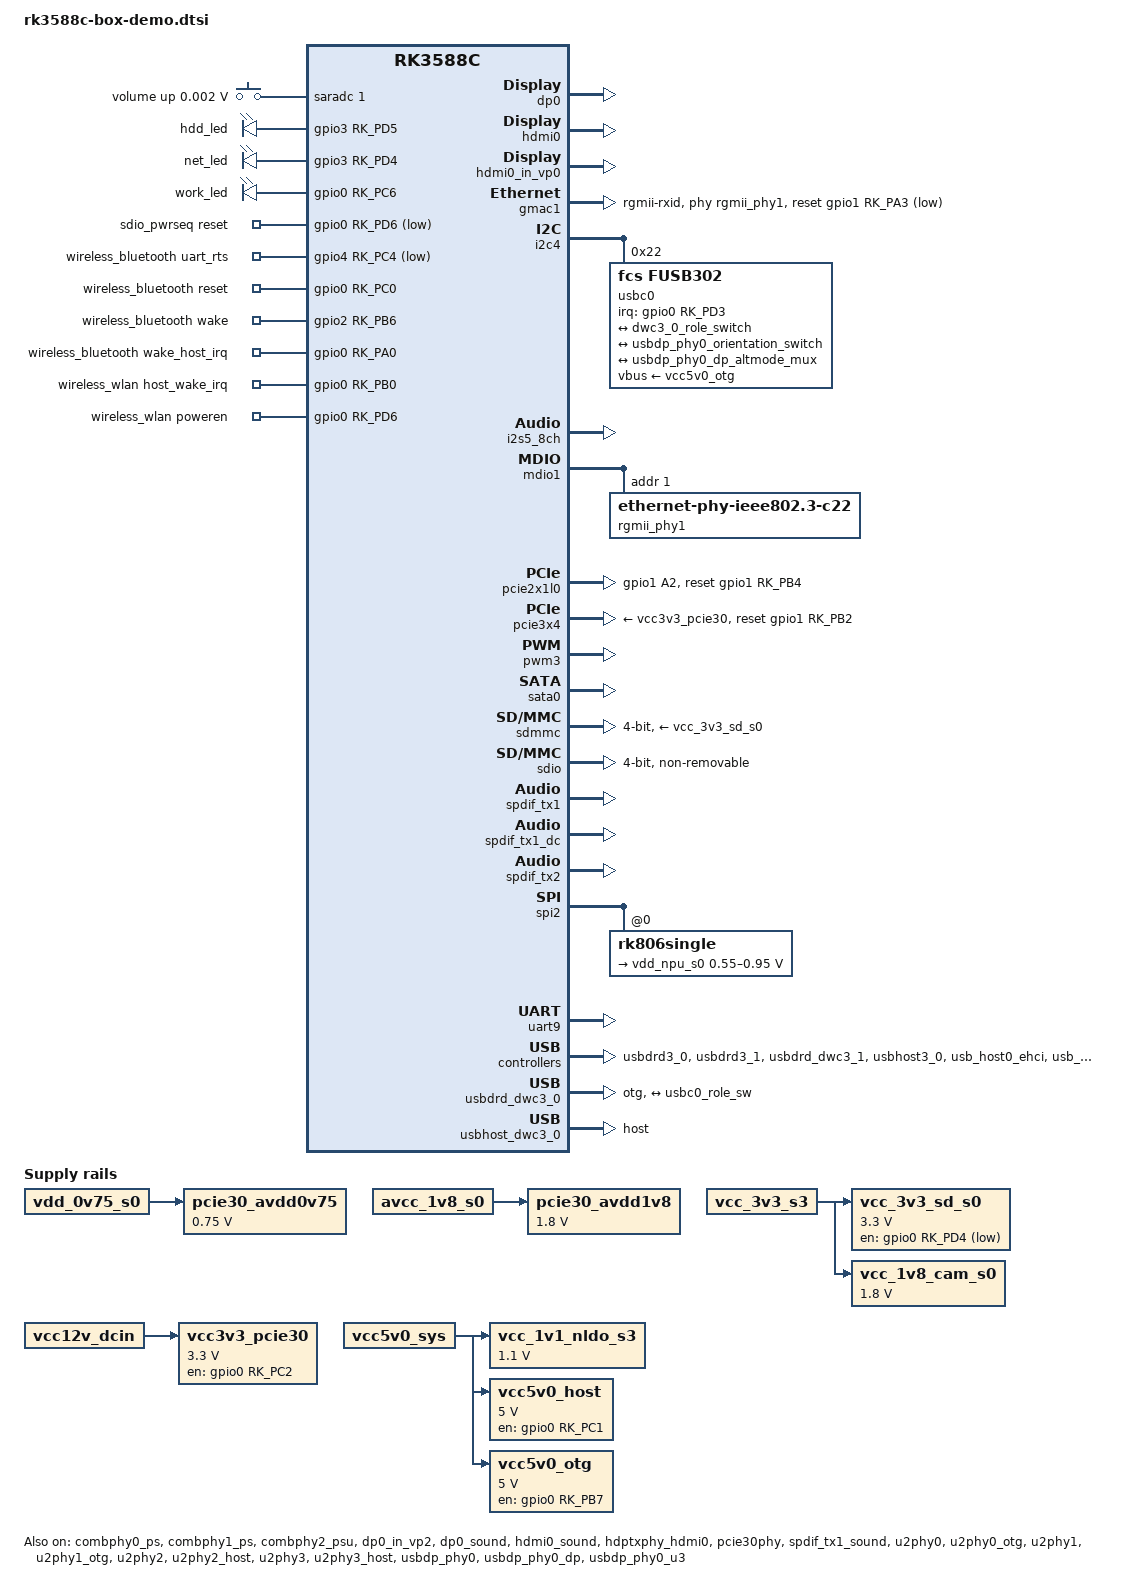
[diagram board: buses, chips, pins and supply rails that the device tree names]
// SPDX-License-Identifier: (GPL-2.0+ OR MIT)
/*
 * Copyright (c) 2021 Rockchip Electronics Co., Ltd.
 *
 */

#include <dt-bindings/gpio/gpio.h>
#include <dt-bindings/pwm/pwm.h>
#include <dt-bindings/pinctrl/rockchip.h>
#include <dt-bindings/input/rk-input.h>
#include <dt-bindings/display/rockchip_vop.h>
#include "dt-bindings/usb/pd.h"
#include "rk3588c-box.dtsi"
#include "rk3588-rk806-single.dtsi"

/ {
	adc_keys: adc-keys {
		compatible = "adc-keys";
		io-channels = <&saradc 1>;
		io-channel-names = "buttons";
		keyup-threshold-microvolt = <1800000>;
		poll-interval = <100>;

		vol-up-key {
			label = "volume up";
			linux,code = <KEY_VOLUMEUP>;
			press-threshold-microvolt = <1750>;
		};
	};

	leds: leds {
		compatible = "gpio-leds";
		hdd_led: hdd-led {
			gpios = <&gpio3 RK_PD5 GPIO_ACTIVE_HIGH>;
			default-state = "off";
		};
		net_led: net-led {
			gpios = <&gpio3 RK_PD4 GPIO_ACTIVE_HIGH>;
			default-state = "off";
		};
		work_led: work-led {
			gpios = <&gpio0 RK_PC6 GPIO_ACTIVE_HIGH>;
			linux,default-trigger = "heartbeat";
		};
	};

	pcie30_avdd0v75: pcie30-avdd0v75 {
		compatible = "regulator-fixed";
		regulator-name = "pcie30_avdd0v75";
		regulator-boot-on;
		regulator-always-on;
		regulator-min-microvolt = <750000>;
		regulator-max-microvolt = <750000>;
		vin-supply = <&vdd_0v75_s0>;
	};

	pcie30_avdd1v8: pcie30-avdd1v8 {
		compatible = "regulator-fixed";
		regulator-name = "pcie30_avdd1v8";
		regulator-boot-on;
		regulator-always-on;
		regulator-min-microvolt = <1800000>;
		regulator-max-microvolt = <1800000>;
		vin-supply = <&avcc_1v8_s0>;
	};

	vcc_3v3_sd_s0: vcc-3v3-sd-s0 {
		compatible = "regulator-fixed";
		regulator-name = "vcc_3v3_sd_s0";
		regulator-min-microvolt = <3300000>;
		regulator-max-microvolt = <3300000>;
		gpios = <&gpio0 RK_PD4 GPIO_ACTIVE_LOW>;
		enable-active-low;
		vin-supply = <&vcc_3v3_s3>;
		regulator-state-mem {
				regulator-off-in-suspend;
		};
	};

	vcc3v3_pcie30: vcc3v3-pcie30 {
		compatible = "regulator-fixed";
		regulator-name = "vcc3v3_pcie30";
		regulator-min-microvolt = <3300000>;
		regulator-max-microvolt = <3300000>;
		enable-active-high;
		gpio = <&gpio0 RK_PC2 GPIO_ACTIVE_HIGH>;
		startup-delay-us = <100000>;
		vin-supply = <&vcc12v_dcin>;
		pinctrl-names = "default";
		pinctrl-0 = <&pcie30_pwr_en>;
	};

	vcc_1v1_nldo_s3: vcc-1v1-nldo-s3 {
		compatible = "regulator-fixed";
		regulator-name = "vcc_1v1_nldo_s3";
		regulator-always-on;
		regulator-boot-on;
		regulator-min-microvolt = <1100000>;
		regulator-max-microvolt = <1100000>;
		vin-supply = <&vcc5v0_sys>;
	};

	vcc_1v8_cam_s0: vcc-1v8-cam-s0 {
		compatible = "regulator-fixed";
		regulator-name = "vcc_1v8_cam_s0";
		regulator-min-microvolt = <1800000>;
		regulator-max-microvolt = <1800000>;
		vin-supply = <&vcc_3v3_s3>;
	};

	vcc5v0_host: vcc5v0-host-regulator {
		compatible = "regulator-fixed";
		regulator-name = "vcc5v0_host";
		regulator-boot-on;
		regulator-always-on;
		regulator-min-microvolt = <5000000>;
		regulator-max-microvolt = <5000000>;
		enable-active-high;
		gpio = <&gpio0 RK_PC1 GPIO_ACTIVE_HIGH>;
		vin-supply = <&vcc5v0_sys>;
		pinctrl-names = "default";
		pinctrl-0 = <&vcc5v0_host_en>;
	};

	vcc5v0_otg: vcc5v0-otg-regulator {
		compatible = "regulator-fixed";
		regulator-name = "vcc5v0_otg";
		regulator-min-microvolt = <5000000>;
		regulator-max-microvolt = <5000000>;
		enable-active-high;
		gpio = <&gpio0 RK_PB7 GPIO_ACTIVE_HIGH>;
		vin-supply = <&vcc5v0_sys>;
		pinctrl-names = "default";
		pinctrl-0 = <&vcc5v0_otg_en>;
	};

	sdio_pwrseq: sdio-pwrseq {
		compatible = "mmc-pwrseq-simple";
		//clocks = <&hym8563>;
		//clock-names = "ext_clock";
		pinctrl-names = "default";
		pinctrl-0 = <&wifi_enable_h>;
		/*
		 * On the module itself this is one of these (depending
		 * on the actual card populated):
		 * - SDIO_RESET_L_WL_REG_ON
		 * - PDN (power down when low)
		 */
		post-power-on-delay-ms = <200>;
		reset-gpios = <&gpio0 RK_PD6 GPIO_ACTIVE_LOW>;
	};

	wireless_bluetooth: wireless-bluetooth {
		compatible = "bluetooth-platdata";
		uart_rts_gpios = <&gpio4 RK_PC4 GPIO_ACTIVE_LOW>;
		pinctrl-names = "default", "rts_gpio";
		pinctrl-0 = <&uart9m0_rtsn>, <&bt_gpio>;
		pinctrl-1 = <&uart9_gpios>;
		BT,reset_gpio    = <&gpio0 RK_PC0 GPIO_ACTIVE_HIGH>;
		BT,wake_gpio     = <&gpio2 RK_PB6 GPIO_ACTIVE_HIGH>;
		BT,wake_host_irq = <&gpio0 RK_PA0 GPIO_ACTIVE_HIGH>;
		status = "okay";
	};

	wireless_wlan: wireless-wlan {
		compatible = "wlan-platdata";
		wifi_chip_type = "ap6398s";
		pinctrl-names = "default";
		pinctrl-0 = <&wifi_host_wake_irq>;
		WIFI,host_wake_irq = <&gpio0 RK_PB0 GPIO_ACTIVE_HIGH>;
		WIFI,poweren_gpio = <&gpio0 RK_PD6 GPIO_ACTIVE_HIGH>;
		status = "okay";
	};
};

&combphy0_ps {
	status = "okay";
};

&combphy1_ps {
	status = "okay";
};

&combphy2_psu {
	status = "okay";
};

&dp0 {
	status = "okay";
};

&dp0_in_vp0 {
	status = "disabled";
};

&dp0_in_vp2 {
	status = "okay";
};

&dp0_sound {
	status = "okay";
};

&hdmi0 {
	pinctrl-names = "default";
	pinctrl-0 = <&hdmim0_tx0_hpd &hdmim0_tx0_scl &hdmim0_tx0_sda &hdmim1_tx0_cec>;
	enable-gpios = <&gpio1 RK_PA4 GPIO_ACTIVE_HIGH>;
	status = "okay";
};

&hdmi0_in_vp0 {
	status = "okay";
};

&hdmi0_in_vp1 {
	status = "disabled";
};

&hdmi0_in_vp2 {
	status = "disabled";
};

&hdmi0_sound {
	status = "okay";
};

&hdptxphy_hdmi0 {
	status = "okay";
};

&gmac1 {
	/* Use rgmii-rxid mode to disable rx delay inside Soc */
	phy-mode = "rgmii-rxid";
	clock_in_out = "output";

	snps,reset-gpio = <&gpio1 RK_PA3 GPIO_ACTIVE_LOW>;
	snps,reset-active-low;
	/* Reset time is 20ms, 100ms for rtl8211f */
	snps,reset-delays-us = <0 20000 100000>;

	pinctrl-names = "default";
	pinctrl-0 = <&gmac1_miim
		     &gmac1_tx_bus2
		     &gmac1_rx_bus2
		     &gmac1_rgmii_clk
		     &gmac1_rgmii_bus>;

	tx_delay = <0x42>;
	//rx_delay = <0x37>;

	phy-handle = <&rgmii_phy1>;
	status = "okay";
};

&i2c4 {
	status = "okay";
	pinctrl-names = "default";
	pinctrl-0 = <&i2c4m2_xfer>;

	usbc0: fusb302@22 {
		compatible = "fcs,fusb302";
		reg = <0x22>;
		interrupt-parent = <&gpio0>;
		interrupts = <RK_PD3 IRQ_TYPE_LEVEL_LOW>;
		pinctrl-names = "default";
		pinctrl-0 = <&usbc0_int>;
		vbus-supply = <&vcc5v0_otg>;
		status = "okay";

		ports {
			#address-cells = <1>;
			#size-cells = <0>;

			port@0 {
				reg = <0>;
				usbc0_role_sw: endpoint@0 {
					remote-endpoint = <&dwc3_0_role_switch>;
				};
			};
		};

		usb_con: connector {
			compatible = "usb-c-connector";
			label = "USB-C";
			data-role = "dual";
			power-role = "dual";
			try-power-role = "sink";
			op-sink-microwatt = <1000000>;
			sink-pdos =
				<PDO_FIXED(5000, 1000, PDO_FIXED_USB_COMM)>;
			source-pdos =
				<PDO_FIXED(5000, 3000, PDO_FIXED_USB_COMM)>;

			altmodes {
				#address-cells = <1>;
				#size-cells = <0>;

				altmode@0 {
					reg = <0>;
					svid = <0xff01>;
					vdo = <0xffffffff>;
				};
			};

			ports {
				#address-cells = <1>;
				#size-cells = <0>;

				port@0 {
					reg = <0>;
					usbc0_orien_sw: endpoint {
						remote-endpoint = <&usbdp_phy0_orientation_switch>;
					};
				};

				port@1 {
					reg = <1>;
					dp_altmode_mux: endpoint {
						remote-endpoint = <&usbdp_phy0_dp_altmode_mux>;
					};
				};
			};
		};
	};
};

&i2s5_8ch {
	status = "okay";
};

&mdio1 {
	rgmii_phy1: phy@6 {
		compatible = "ethernet-phy-ieee802.3-c22";
		reg = <0x1>;
		clocks = <&cru REFCLKO25M_ETH1_OUT>;
	};
};

&pcie2x1l0 {
	reset-gpios = <&gpio1 RK_PB4 GPIO_ACTIVE_HIGH>;
	pinctrl-names = "default";
	pinctrl-0 = <&rtl8111_isolate>;
	status = "okay";
};

&pcie30phy {
	status = "okay";
};

&pcie3x4 {
	reset-gpios = <&gpio1 RK_PB2 GPIO_ACTIVE_HIGH>;
	vpcie3v3-supply = <&vcc3v3_pcie30>;
	status = "okay";
};

&pwm3 {
	compatible = "rockchip,remotectl-pwm";
	pinctrl-names = "default";
	pinctrl-0 = <&pwm3m0_pins>;
	remote_pwm_id = <3>;
	handle_cpu_id = <1>;
	remote_support_psci = <0>;
	status = "okay";

	ir_key1 {
		rockchip,usercode = <0x4040>;
		rockchip,key_table =
			<0xf2   KEY_REPLY>,
			<0xba   KEY_BACK>,
			<0xf4   KEY_UP>,
			<0xf1   KEY_DOWN>,
			<0xef   KEY_LEFT>,
			<0xee   KEY_RIGHT>,
			<0xbd   KEY_HOME>,
			<0xea   KEY_VOLUMEUP>,
			<0xe3   KEY_VOLUMEDOWN>,
			<0xe2   KEY_SEARCH>,
			<0xb2   KEY_POWER>,
			<0xbc   KEY_MUTE>,
			<0xec   KEY_MENU>,
			<0xbf   0x190>,
			<0xe0   0x191>,
			<0xe1   0x192>,
			<0xe9   183>,
			<0xe6   248>,
			<0xe8   185>,
			<0xe7   186>,
			<0xf0   388>,
			<0xbe   0x175>;
	};

	ir_key2 {
		rockchip,usercode = <0xff00>;
		rockchip,key_table =
			<0xf9	KEY_HOME>,
			<0xbf	KEY_BACK>,
			<0xfb	KEY_MENU>,
			<0xaa	KEY_REPLY>,
			<0xb9	KEY_UP>,
			<0xe9	KEY_DOWN>,
			<0xb8	KEY_LEFT>,
			<0xea	KEY_RIGHT>,
			<0xeb	KEY_VOLUMEDOWN>,
			<0xef	KEY_VOLUMEUP>,
			<0xf7	KEY_MUTE>,
			<0xe7	KEY_POWER>,
			<0xfc	KEY_POWER>,
			<0xa9	KEY_VOLUMEDOWN>,
			<0xa8	KEY_PLAYPAUSE>,
			<0xe0	KEY_VOLUMEDOWN>,
			<0xa5	KEY_VOLUMEDOWN>,
			<0xab	183>,
			<0xb7	388>,
			<0xe8	388>,
			<0xf8	184>,
			<0xaf	185>,
			<0xed	KEY_VOLUMEDOWN>,
			<0xee	186>,
			<0xb3	KEY_VOLUMEDOWN>,
			<0xf1	KEY_VOLUMEDOWN>,
			<0xf2	KEY_VOLUMEDOWN>,
			<0xf3	KEY_SEARCH>,
			<0xb4	KEY_VOLUMEDOWN>,
			<0xa4	KEY_SETUP>,
			<0xbe	KEY_SEARCH>;
	};

	ir_key3 {
		rockchip,usercode = <0x1dcc>;
		rockchip,key_table =
			<0xee	KEY_REPLY>,
			<0xf0	KEY_BACK>,
			<0xf8	KEY_UP>,
			<0xbb	KEY_DOWN>,
			<0xef	KEY_LEFT>,
			<0xed	KEY_RIGHT>,
			<0xfc	KEY_HOME>,
			<0xf1	KEY_VOLUMEUP>,
			<0xfd	KEY_VOLUMEDOWN>,
			<0xb7	KEY_SEARCH>,
			<0xff	KEY_POWER>,
			<0xf3	KEY_MUTE>,
			<0xbf	KEY_MENU>,
			<0xf9	0x191>,
			<0xf5	0x192>,
			<0xb3	388>,
			<0xbe	KEY_1>,
			<0xba	KEY_2>,
			<0xb2	KEY_3>,
			<0xbd	KEY_4>,
			<0xf9	KEY_5>,
			<0xb1	KEY_6>,
			<0xfc	KEY_7>,
			<0xf8	KEY_8>,
			<0xb0	KEY_9>,
			<0xb6	KEY_0>,
			<0xb5	KEY_BACKSPACE>;
	};
};

&sata0 {
	status = "okay";
};

&sdmmc {
	max-frequency = <200000000>;
	no-sdio;
	no-mmc;
	bus-width = <4>;
	cap-mmc-highspeed;
	cap-sd-highspeed;
	disable-wp;
	sd-uhs-sdr104;
	vmmc-supply = <&vcc_3v3_sd_s0>;
	vqmmc-supply = <&vccio_sd_s0>;
	status = "okay";
};

&sdio {
	max-frequency = <200000000>;
	no-sd;
	no-mmc;
	bus-width = <4>;
	disable-wp;
	cap-sd-highspeed;
	cap-sdio-irq;
	keep-power-in-suspend;
	mmc-pwrseq = <&sdio_pwrseq>;
	non-removable;
	pinctrl-names = "default";
	pinctrl-0 = <&sdiom0_pins>;
	sd-uhs-sdr104;
	status = "okay";
};

&spdif_tx1 {
	status = "okay";
	pinctrl-names = "default";
	pinctrl-0 = <&spdif1m1_tx>;
};

&spdif_tx1_dc {
	status = "okay";
};

&spdif_tx1_sound {
	status = "okay";
};

&spdif_tx2 {
        status = "okay";
};

&spi2 {
	rk806single@0 {
		pinctrl-names = "default", "pmic-power-off";
		pinctrl-0 = <&pmic_pins>, <&rk806_dvs1_null>, <&rk806_dvs2_null>, <&rk806_dvs3_null>;
		pinctrl-1 = <&rk806_dvs1_slp>, <&rk806_dvs2_null>, <&rk806_dvs3_null>;
		regulators {
			/delete-node/ DCDC_REG4;

			vdd_npu_s0: vdd_npu_mem_s0: DCDC_REG4 {
				regulator-always-on;
				regulator-boot-on;
				regulator-min-microvolt = <550000>;
				regulator-max-microvolt = <950000>;
				regulator-init-microvolt = <750000>;
				regulator-ramp-delay = <2500>;
				regulator-name = "vdd_npu_s0";
				regulator-state-mem {
					regulator-off-in-suspend;
				};
			};
		};
	};
};

&uart9 {
	status = "okay";
	pinctrl-names = "default";
	pinctrl-0 = <&uart9m0_xfer &uart9m0_ctsn>;
};

&u2phy0 {
	status = "okay";
};

&u2phy0_otg {
	rockchip,typec-vbus-det;
	status = "okay";
};

&u2phy1 {
	status = "okay";
};

&u2phy1_otg {
	rockchip,sel-pipe-phystatus;
	phy-supply = <&vcc5v0_host>;
	status = "okay";
};

&u2phy2 {
	status = "okay";
};

&u2phy2_host {
	phy-supply = <&vcc5v0_host>;
	status = "okay";
};

&u2phy3 {
	status = "okay";
};

&u2phy3_host {
	phy-supply = <&vcc5v0_host>;
	status = "okay";
};

&usbdp_phy0 {
	status = "okay";
	orientation-switch;
	svid = <0xff01>;
	sbu1-dc-gpios = <&gpio1 RK_PD6 GPIO_ACTIVE_HIGH>;
	sbu2-dc-gpios = <&gpio1 RK_PD7 GPIO_ACTIVE_HIGH>;

	port {
		#address-cells = <1>;
		#size-cells = <0>;
		usbdp_phy0_orientation_switch: endpoint@0 {
			reg = <0>;
			remote-endpoint = <&usbc0_orien_sw>;
		};

		usbdp_phy0_dp_altmode_mux: endpoint@1 {
			reg = <1>;
			remote-endpoint = <&dp_altmode_mux>;
		};
	};
};

&usbdp_phy0_dp {
	status = "okay";
};

&usbdp_phy0_u3 {
	status = "okay";
};

&usbdrd3_0 {
	status = "okay";
};

&usbdrd3_1 {
	status = "okay";
};

&usbdrd_dwc3_0 {
	status = "okay";
	dr_mode = "otg";
	usb-role-switch;
	port {
		#address-cells = <1>;
		#size-cells = <0>;
		dwc3_0_role_switch: endpoint@0 {
			reg = <0>;
			remote-endpoint = <&usbc0_role_sw>;
		};
	};
};

&usbdrd_dwc3_1 {
	status = "okay";
};

&usbhost3_0 {
	status = "okay";
};

&usbhost_dwc3_0 {
	dr_mode = "host";
	status = "okay";
};

&usb_host0_ehci {
	status = "okay";
};

&usb_host0_ohci {
	status = "okay";
};

&usb_host1_ehci {
        status = "okay";
};

&usb_host1_ohci {
        status = "okay";
};

&pinctrl {
	pinctrl-names = "default";
	pinctrl-0 = <&clk32k_out0>;

	pcie30 {
		pcie30_pwr_en: pcie30-pwr-en {
			rockchip,pins = <0 RK_PC2 RK_FUNC_GPIO &pcfg_pull_none>;
		};
	};

	pmic {
		/omit-if-no-ref/
		pmic_pins: pmic-pins {
			rockchip,pins =
				/* pmic_int_l */
				<0 RK_PA7 0 &pcfg_pull_up>,
				/* pmic_sleep1 */
				<0 RK_PA2 1 &pcfg_pull_none>,
				/* pmic_sleep2 */
				<0 RK_PA3 1 &pcfg_pull_none>,
				/* pmic_sleep3 */
				<0 RK_PC1 1 &pcfg_pull_none>,
				/* pmic_sleep5 */
				<0 RK_PC3 1 &pcfg_pull_none>,
				/* pmic_sleep6 */
				<0 RK_PD6 1 &pcfg_pull_none>;
		};
	};

	rtl8111 {
		rtl8111_isolate: rtl8111-isolate {
			rockchip,pins = <1 RK_PA2 RK_FUNC_GPIO &pcfg_output_high>;
		};
	};

	sdio-pwrseq {
		wifi_enable_h: wifi-enable-h {
			rockchip,pins = <0 RK_PD6 RK_FUNC_GPIO &pcfg_pull_none>;
		};
	};

	usb {
		vcc5v0_host_en: vcc5v0-host-en {
			rockchip,pins = <0 RK_PC1 RK_FUNC_GPIO &pcfg_pull_none>;
		};

		vcc5v0_otg_en: vcc5v0-otg-en {
			rockchip,pins = <0 RK_PB7 RK_FUNC_GPIO &pcfg_pull_none>;
		};
	};

	usb-typec {
		usbc0_int: usbc0-int {
			rockchip,pins = <0 RK_PD3 RK_FUNC_GPIO &pcfg_pull_up>;
		};
	};

	wireless-bluetooth {
		uart9_gpios: uart9-gpios {
			rockchip,pins = <4 RK_PC4 RK_FUNC_GPIO &pcfg_pull_none>;
		};

		bt_gpio: bt-gpio {
			rockchip,pins = <0 RK_PC0 RK_FUNC_GPIO &pcfg_pull_none>,
					<2 RK_PB6 RK_FUNC_GPIO &pcfg_pull_none>,
					<0 RK_PA0 RK_FUNC_GPIO &pcfg_pull_down>;
		};
	};

	wireless-wlan {
		wifi_host_wake_irq: wifi-host-wake-irq {
			rockchip,pins = <0 RK_PB0 RK_FUNC_GPIO &pcfg_pull_down>;
		};
	};
};

